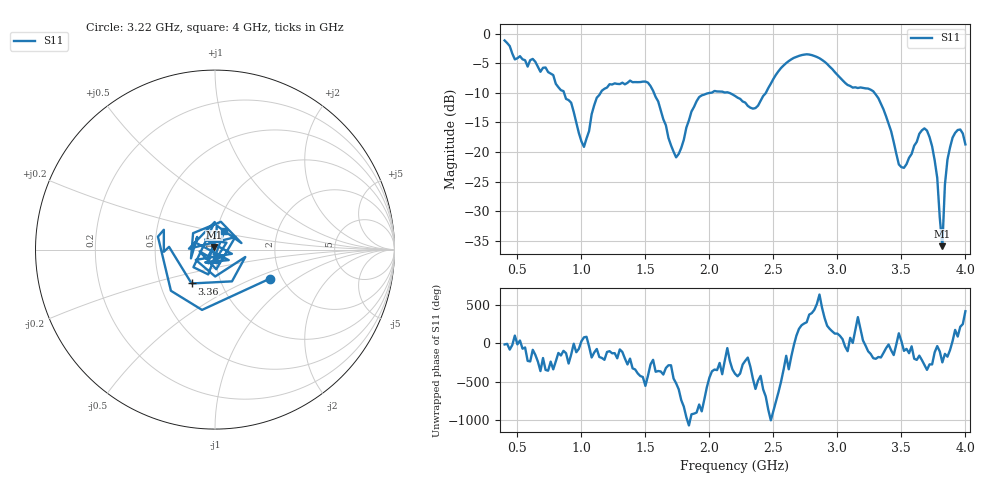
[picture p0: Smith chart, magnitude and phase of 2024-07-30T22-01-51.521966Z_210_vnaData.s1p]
!Created with skrf (http://scikit-rf.org).
# Hz S RI R 50.0
!freq ReS11 ImS11
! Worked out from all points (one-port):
!   181 points, 400 MHz to 4 GHz, reference 50 ohm
!   lowest |S11| = -35.9 dB at 3.82 GHz (marker M1), VSWR 1.03, Z = 49.4 + j1.48 ohm
!   |S11| at or under -10 dB: 1.567 GHz to 2.006 GHz (439 MHz wide, 24.6 % of centre); 2.154 GHz to 2.441 GHz (287.2 MHz wide, 12.5 % of centre); 3.29 GHz to end of sweep (the widest 3 of 4)
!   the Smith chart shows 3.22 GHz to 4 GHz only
!   S11 on the Smith chart (normalised r, x): 3.22 GHz: 1.73, -0.64; 3.36 GHz: 0.72, -0.29; 4 GHz: 1.09, +0.23
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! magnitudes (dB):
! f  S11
! 400 MHz  -1.2
! 480 MHz  -4.4
! 620 MHz  -4.3
! 860 MHz  -9.7
! 1.02 GHz  -19.1
! 1.12 GHz  -10.8
! 1.3 GHz  -8.5
! 1.52 GHz  -8.3
! 1.72 GHz  -19.9
! 1.76 GHz  -20.3
! 1.92 GHz  -10.7
! 2.2 GHz  -10.5
! 2.36 GHz  -12.6
! 2.66 GHz  -4.1
! 2.86 GHz  -4.2
! 3.1 GHz  -8.8
! 3.22 GHz  -9.2
! 3.36 GHz  -12.8
! 3.48 GHz  -22.1
! 3.56 GHz  -21.0
! 3.66 GHz  -16.3
! 3.72 GHz  -17.5
! 3.78 GHz  -24.3
! 3.82 GHz  -35.9
! 3.84 GHz  -25.5
! 3.88 GHz  -19.2
! 3.94 GHz  -16.3
! 4 GHz  -18.7
